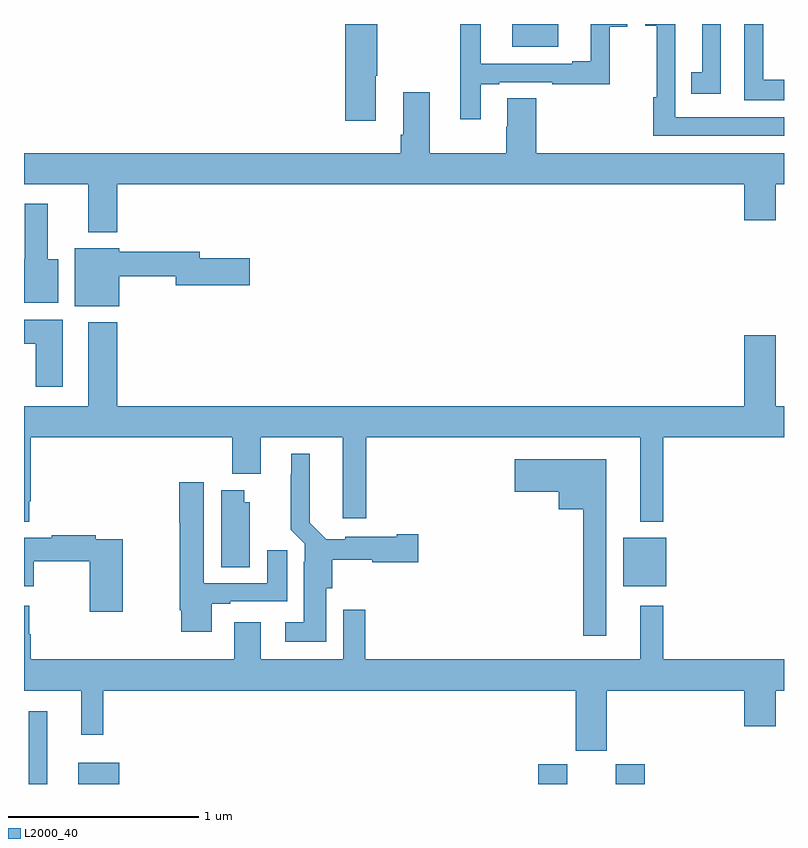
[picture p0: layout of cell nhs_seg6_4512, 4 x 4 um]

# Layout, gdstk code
import gdstk
lib = gdstk.Library(unit=1e-6, precision=1e-09)
def R(c, l, rs):  # rectangles x0, y0, x1, y1
    for r in rs: c.add(gdstk.rectangle(r[:2], r[2:], *l))
def P(c, l, *ps):  # polygons
    for p in ps: c.add(gdstk.Polygon(p, *l))
L2000_40 = (2000, 40)

nhs_seg6_4512 = lib.new_cell('nhs_seg6_4512')
R(nhs_seg6_4512, L2000_40, [(377.025,957.5,377.122,957.883), (377.285,957.5,377.5,957.613), (379.706,957.5,379.858,957.603), (380.114,957.5,380.267,957.603), (380.153,958.541,380.38,958.795), (379.571,961.379,379.813,961.5)])
P(nhs_seg6_4512, L2000_40, [(379.405,961.182),(379.501,961.182),(379.501,961.194),(379.78,961.194),(379.78,961.182),(380.082,961.182),(380.082,961.486),(380.176,961.486),(380.176,961.5),(379.982,961.5),(379.982,961.303),(379.886,961.303),(379.886,961.29),(379.405,961.29),(379.405,961.5),(379.296,961.5),(379.296,961.243),(379.295,961.243),(379.295,960.999),(379.405,960.999)],
  [(381,961.008),(380.427,961.008),(380.427,961.336),(380.428,961.336),(380.428,961.5),(380.271,961.5),(380.271,961.491),(380.329,961.491),(380.329,961.115),(380.311,961.115),(380.311,960.912),(381,960.912)],
  [(378.85,961.228),(378.858,961.228),(378.858,961.5),(378.692,961.5),(378.692,960.99),(378.85,960.99)],
  [(380.667,961.5),(380.57,961.5),(380.57,961.247),(380.512,961.247),(380.512,961.134),(380.667,961.134)],
  [(381,961.207),(380.891,961.207),(380.891,961.5),(380.79,961.5),(380.79,961.098),(381,961.098)],
  [(377.492,960.656),(380.792,960.656),(380.792,960.468),(380.956,960.468),(380.956,960.656),(381,960.656),(381,960.82),(379.697,960.82),(379.697,961.109),(379.544,961.109),(379.544,960.959),(379.537,960.959),(379.537,960.82),(379.135,960.82),(379.135,961.141),(378.995,961.141),(378.995,960.916),(378.983,960.916),(378.983,960.82),(377,960.82),(377,960.656),(377.339,960.656),(377.339,960.404),(377.492,960.404)],
  [(377.179,960.262),(377.125,960.262),(377.125,960.553),(377.003,960.553),(377.003,960.262),(377,960.262),(377,960.032),(377.179,960.032)],
  [(377.5,960.172),(377.798,960.172),(377.798,960.125),(378.187,960.125),(378.187,960.267),(377.926,960.267),(377.926,960.301),(377.5,960.301),(377.5,960.319),(377.267,960.319),(377.267,960.014),(377.5,960.014)],
  [(377.203,959.944),(377,959.944),(377,959.816),(377.063,959.816),(377.063,959.592),(377.203,959.592)],
  [(377.028,958.987),(377.035,958.987),(377.035,959.324),(378.095,959.324),(378.095,959.132),(378.247,959.132),(378.247,959.324),(378.677,959.324),(378.677,958.899),(378.8,958.899),(378.8,959.324),(380.243,959.324),(380.243,958.88),(380.365,958.88),(380.365,959.324),(381,959.324),(381,959.488),(380.956,959.488),(380.956,959.863),(380.792,959.863),(380.792,959.488),(377.492,959.488),(377.492,959.929),(377.339,959.929),(377.339,959.488),(377,959.488),(377,958.88),(377.028,958.88)],
  [(378.592,958.53),(378.623,958.53),(378.623,958.679),(378.834,958.679),(378.834,958.667),(379.075,958.667),(379.075,958.814),(378.962,958.814),(378.962,958.801),(378.69,958.801),(378.69,958.789),(378.591,958.789),(378.505,958.876),(378.505,959.239),(378.407,959.239),(378.407,959.129),(378.403,959.129),(378.403,958.838),(378.477,958.764),(378.477,958.67),(378.473,958.67),(378.473,958.351),(378.375,958.351),(378.375,958.25),(378.592,958.25)],
  [(380.065,959.209),(379.584,959.209),(379.584,959.039),(379.814,959.039),(379.814,958.946),(379.944,958.946),(379.944,958.281),(380.065,958.281)],
  [(377.989,958.449),(378.085,958.449),(378.085,958.461),(378.385,958.461),(378.385,958.729),(378.281,958.729),(378.281,958.557),(377.947,958.557),(377.947,959.089),(377.816,959.089),(377.816,958.876),(377.821,958.876),(377.821,958.414),(377.828,958.414),(377.828,958.302),(377.989,958.302)],
  [(378.187,958.983),(378.16,958.983),(378.16,959.047),(378.038,959.047),(378.038,958.642),(378.187,958.642)],
  [(377.52,958.788),(377.378,958.788),(377.378,958.808),(377.146,958.808),(377.146,958.795),(377,958.795),(377,958.541),(377.05,958.541),(377.05,958.672),(377.347,958.672),(377.347,958.407),(377.52,958.407)],
  [(380.068,957.992),(380.792,957.992),(380.792,957.804),(380.956,957.804),(380.956,957.992),(381,957.992),(381,958.156),(380.365,958.156),(380.365,958.438),(380.243,958.438),(380.243,958.156),(378.797,958.156),(378.797,958.417),(378.681,958.417),(378.681,958.156),(378.247,958.156),(378.247,958.351),(378.107,958.351),(378.107,958.156),(377.035,958.156),(377.035,958.289),(377.027,958.289),(377.027,958.438),(377,958.438),(377,957.992),(377.3,957.992),(377.3,957.759),(377.417,957.759),(377.417,957.992),(379.904,957.992),(379.904,957.675),(380.068,957.675)])

lib.write_gds('nhs_seg6_4512.gds')
